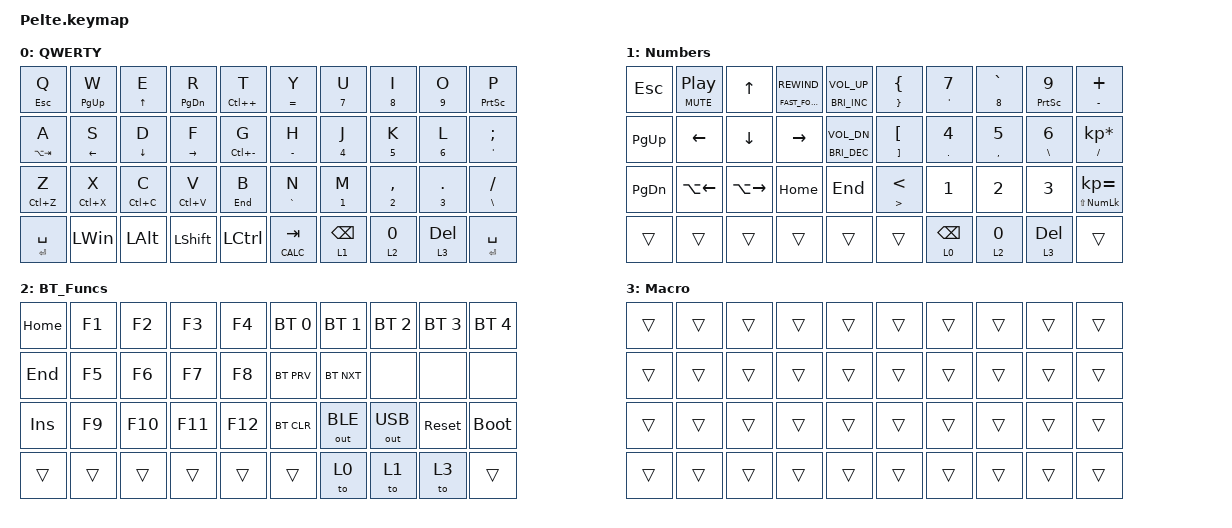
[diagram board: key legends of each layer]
/*
 * Copyright (c) 2020 The ZMK Contributors
 *
 * SPDX-License-Identifier: MIT
 */

#include <behaviors.dtsi>
#include <dt-bindings/zmk/bt.h>
#include <dt-bindings/zmk/keys.h>
#include <dt-bindings/zmk/outputs.h>
#include <dt-bindings/zmk/matrix-transform.h>

/ {
    macros {
        M_Undo: M_Undo {
            compatible = "zmk,behavior-macro";
            #binding-cells = <0>;
            bindings = <&macro_tap>, <&kp LCTRL &kp Z>;

            label = "M_UNDO";
        };

        M_Cut: M_Cut {
            compatible = "zmk,behavior-macro";
            #binding-cells = <0>;
            bindings = <&macro_tap>, <&kp LCTRL &kp Z>;

            label = "M_CUT";
        };

        M_Copy: M_Copy {
            compatible = "zmk,behavior-macro";
            #binding-cells = <0>;
            bindings = <&macro_tap>, <&kp LCTRL &kp C>;

            label = "M_COPY";
        };

        M_Paste: M_Paste {
            compatible = "zmk,behavior-macro";
            #binding-cells = <0>;
            bindings = <&macro_tap>, <&kp LCTRL &kp C>;

            label = "M_PASTE";
        };
    };

    keymap {
        compatible = "zmk,keymap";

        QWERTY {
            // --------------------------------------------------------------------------------------------------------------------------------------------------------------------
            // |   Q   |  W  |  E  |  R  |  T  |  Y  |  U  |  I  |    O    |  P   |
            // |   A   |  S  |  D  |  F  |  G  |  H  |  J  |  K  |    L    |  ;   |
            // |Lsft/Z |  X  |  C  |  V  |  B  |  N  |  M  |  ,  |    .    |Rsft//|
            // |Spc/Ent| Win | Alt | Shift | Ctrl | Tab | FN | Alt/0 | Layer2 | BSPC/Del |

            bindings = <
  &mt ESC Q        &mt PG_UP W  &mt UP E     &mt PG_DN R  &mt LC(PLUS) T     &mt EQUAL Y     &mt N7 U    &mt N8 I      &mt N9 O    &mt PRINTSCREEN P
  &mt LA(TAB) A    &mt LEFT S   &mt DOWN D   &mt RIGHT F  &mt LC(MINUS) G    &mt MINUS H     &mt N4 J    &mt N5 K      &mt N6 L    &mt SQT SEMI
  &mt LC(Z) Z      &mt LC(X) X  &mt LC(C) C  &mt LC(V) V  &mt END B          &mt GRAVE N     &mt N1 M    &mt N2 COMMA  &mt N3 DOT  &mt BSLH FSLH
  &mt ENTER SPACE  &kp LWIN     &kp LALT     &kp LSHIFT   &kp LCTRL          &mt K_CALC TAB  &lt 1 BSPC  &lt 2 N0      &lt 3 DEL   &mt ENTER SPACE
            >;
        };

        Numbers {
            // --------------------------------------------------------------------------------------------------------------------------------------------------------------------
            // | 1  |    2   |  3     |  4  |  5  |  6  |  7  |  8  |  9  |  0  |
            // |TAB | BT_PRV | BT_NXT | VOL-| VOL+|  <  |  v  |  ∧  |  >  |  '  |
            // |Lsft| BT_SEL0|  MB5   | MUTE|     | HOME| END | PGUP| PGDN| Rsft|
            // |    |        | LCTL   | LMOD| LALT| Num |     | BL-reset |    |    |

            bindings = <
  &kp ESC    &mt C_MUTE C_PP  &kp UP_ARROW   &mt C_FAST_FORWARD C_REWIND  &mt C_BRI_INC C_VOL_UP    &mt RBRC LBRC  &mt SQT N7     &mt N8 GRAVE  &mt PRINTSCREEN N9  &mt MINUS PLUS
  &kp PG_UP  &kp LEFT         &kp DOWN       &kp RIGHT                    &mt C_BRI_DEC C_VOL_DN    &mt RBKT LBKT  &mt PERIOD N4  &mt COMMA N5  &mt BSLH N6         &mt SLASH KP_MULTIPLY
  &kp PG_DN  &kp LA(LEFT)     &kp LA(RIGHT)  &kp HOME                     &kp END                   &mt GT LT      &kp N1         &kp N2        &kp N3              &mt LS(KP_NUM) KP_EQUAL
  &trans     &trans           &trans         &trans                       &trans                    &trans         &lt 0 BSPC     &lt 2 N0      &lt 3 DEL           &trans
            >;
        };

        BT_Funcs {
            // --------------------------------------------------------------------------------------------------------------------------------------------------------------------
            // |ESC |  F1 |  F2 |  F3 |  F4 | OUT_USB | OUT_BLE |        |  =  |  -   |
            // |CAPS|  F5 |  F6 |  F7 |  F8 |    [    |    ]    |        |  `  |  \   |
            // |LSFT|  F9 | F10 | F11 | F12 |         |         |        |     | RSFT |
            //     |  |  | LCTL | LMOD| LALT | RESET  |         |   SYM  |    |    |

            bindings = <
  &kp HOME    &kp F1  &kp F2   &kp F3   &kp F4     &bt BT_SEL 0  &bt BT_SEL 1  &bt BT_SEL 2  &bt BT_SEL 3  &bt BT_SEL 4
  &kp END     &kp F5  &kp F6   &kp F7   &kp F8     &bt BT_PRV    &bt BT_NXT    &none         &none         &none
  &kp INSERT  &kp F9  &kp F10  &kp F11  &kp F12    &bt BT_CLR    &out OUT_BLE  &out OUT_USB  &sys_reset    &bootloader
  &trans      &trans  &trans   &trans   &trans     &trans        &to 0         &to 1         &to 3         &trans
            >;
        };

        Macro {
            bindings = <
  &trans  &trans  &trans  &trans  &trans    &trans  &trans  &trans  &trans  &trans
  &trans  &trans  &trans  &trans  &trans    &trans  &trans  &trans  &trans  &trans
  &trans  &trans  &trans  &trans  &trans    &trans  &trans  &trans  &trans  &trans
  &trans  &trans  &trans  &trans  &trans    &trans  &trans  &trans  &trans  &trans
            >;
        };
    };
};
